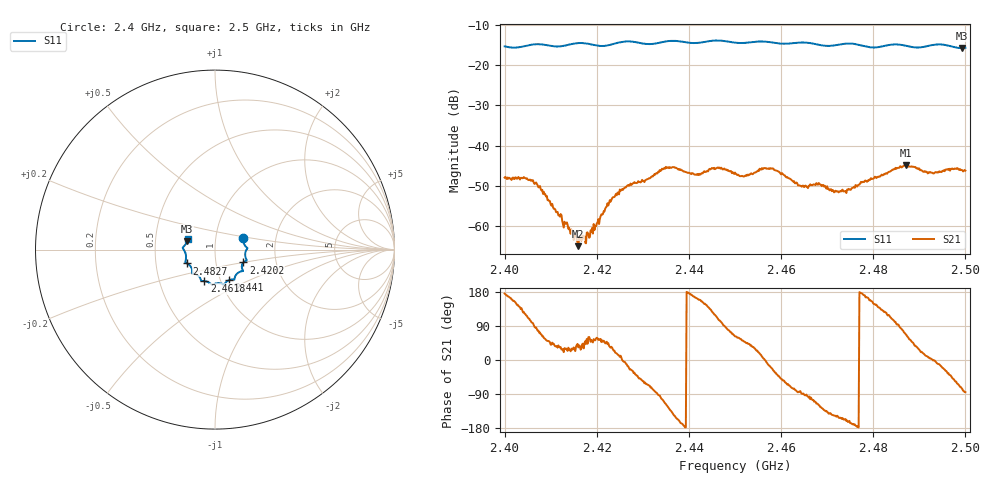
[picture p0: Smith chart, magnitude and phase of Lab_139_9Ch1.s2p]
# Hz S RI R 50
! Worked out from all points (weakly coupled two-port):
!   601 points, 2.4 GHz to 2.5 GHz, reference 50 ohm
!   highest |S21| = -44.85 dB at 2.4872 GHz (marker M1); lowest = -64.9 dB at 2.416 GHz (marker M2)
!   lowest |S11| = -15.8 dB at 2.4992 GHz (marker M3), VSWR 1.39, Z = 36.4 + j3.65 ohm
!   |S11| at or under -10 dB: start of sweep to end of sweep
!   S12 and S22 are empty: the file has one direction only
!   S11 on the Smith chart (normalised r, x): 2.4 GHz: 1.36, +0.18; 2.4202 GHz: 1.36, -0.20; 2.441 GHz: 1.10, -0.39; 2.4618 GHz: 0.84, -0.30; 2.4827 GHz: 0.72, -0.11; 2.5 GHz: 0.73, +0.09
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2.4e9  0.1584 0.0628  -0.00401 0.000327  0 0  0 0
2.4065e9  0.1804 0.00982  0.000166 0.00335  0 0  0 0
2.416e9  0.1771 -0.0596  0.000476 0.000312  0 0  0 0
2.416667e9  0.1772 -0.0609  0.000572 0.000346  0 0  0 0
2.418e9  0.1729 -0.063  0.000618 0.000574  0 0  0 0
2.420167e9  0.1585 -0.0714  0.000603 0.000943  0 0  0 0
2.425e9  0.1542 -0.1135  0.00284 0.000415  0 0  0 0
2.433333e9  0.1114 -0.1508  -0.000176 -0.00476  0 0  0 0
2.436333e9  0.1088 -0.1672  -0.00401 -0.00361  0 0  0 0
2.441e9  0.0787 -0.1698  -0.00438 0.000948  0 0  0 0
2.4465e9  0.0489 -0.1952  -0.00138 0.00509  0 0  0 0
2.45e9  0.0284 -0.1874  0.00216 0.00412  0 0  0 0
2.457833e9  -0.0244 -0.1896  0.00491 -0.00181  0 0  0 0
2.461833e9  -0.0592 -0.1753  0.00151 -0.00361  0 0  0 0
2.466667e9  -0.0786 -0.1683  -0.000786 -0.00317  0 0  0 0
2.474e9  -0.1253 -0.1346  -0.00251 -0.00112  0 0  0 0
2.482667e9  -0.1559 -0.0771  -0.00264 0.00371  0 0  0 0
2.483333e9  -0.1601 -0.0752  -0.0023 0.00414  0 0  0 0
2.487167e9  -0.1629 -0.0586  0.00229 0.00524  0 0  0 0
2.492667e9  -0.1763 0.00294  0.00463 0.000171  0 0  0 0
2.499167e9  -0.1547 0.0488  0.00136 -0.00484  0 0  0 0
2.5e9  -0.1522 0.0606  0.000433 -0.0049  0 0  0 0
